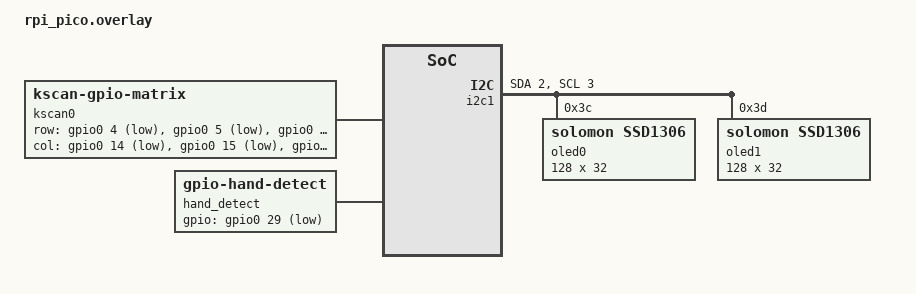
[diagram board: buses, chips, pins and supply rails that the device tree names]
// rpi_pico.overlay

/ {
    kscan0: kscan {
        compatible = "zmk,kscan-gpio-matrix";
        row-gpios = <&gpio0 4 GPIO_ACTIVE_LOW>, <&gpio0 5 GPIO_ACTIVE_LOW>, <&gpio0 6 GPIO_ACTIVE_LOW>,
                    <&gpio0 7 GPIO_ACTIVE_LOW>, <&gpio0 8 GPIO_ACTIVE_LOW>, <&gpio0 9 GPIO_ACTIVE_LOW>,
                    <&gpio0 10 GPIO_ACTIVE_LOW>, <&gpio0 11 GPIO_ACTIVE_LOW>, <&gpio0 12 GPIO_ACTIVE_LOW>, <&gpio0 13 GPIO_ACTIVE_LOW>;
        col-gpios = <&gpio0 14 GPIO_ACTIVE_LOW>, <&gpio0 15 GPIO_ACTIVE_LOW>, <&gpio0 16 GPIO_ACTIVE_LOW>,
                    <&gpio0 17 GPIO_ACTIVE_LOW>, <&gpio0 18 GPIO_ACTIVE_LOW>, <&gpio0 19 GPIO_ACTIVE_LOW>;
        diode-direction = "col2row";
        debounce-press-ms = <5>;
        debounce-release-ms = <5>;
    };

    i2c1: i2c@1 {
        status = "okay";
        scl-pin = <3>; // GP3
        sda-pin = <2>; // GP2

        oled0: ssd1306@3c {
            compatible = "solomon,ssd1306";
            reg = <0x3c>;
            width = <128>;
            height = <32>;
            rotation = <270>;
            brightness = <30>;
        };

        oled1: ssd1306@3d {
            compatible = "solomon,ssd1306";
            reg = <0x3d>;
            width = <128>;
            height = <32>;
            rotation = <270>;
            brightness = <30>;
        };
    };

    ws2812: ws2812@0 {
        compatible = "worldsemi,ws2812";
        pin = <28>; // GP28
        num-leds = <2>;
        split = <1 1>;
        max-brightness = <150>;
        default-brightness = <0>;
        default-saturation = <255>;
        status = "okay";
    };

    hand_detect: gpio_hand {
        compatible = "zmk,gpio-hand-detect";
        gpios = <&gpio0 29 GPIO_ACTIVE_LOW>;
    };

    uart0: uart {
        compatible = "zephyr,uart";
        current-speed = <19200>;
        tx-pin = <0>; // GP0
        rx-pin = <1>; // GP1
        status = "okay";
    };

    chosen {
        zmk,kscan = &kscan0;
        zmk,display = &oled0;
        zmk,display2 = &oled1;
        zmk,led = &ws2812;
    };
};

